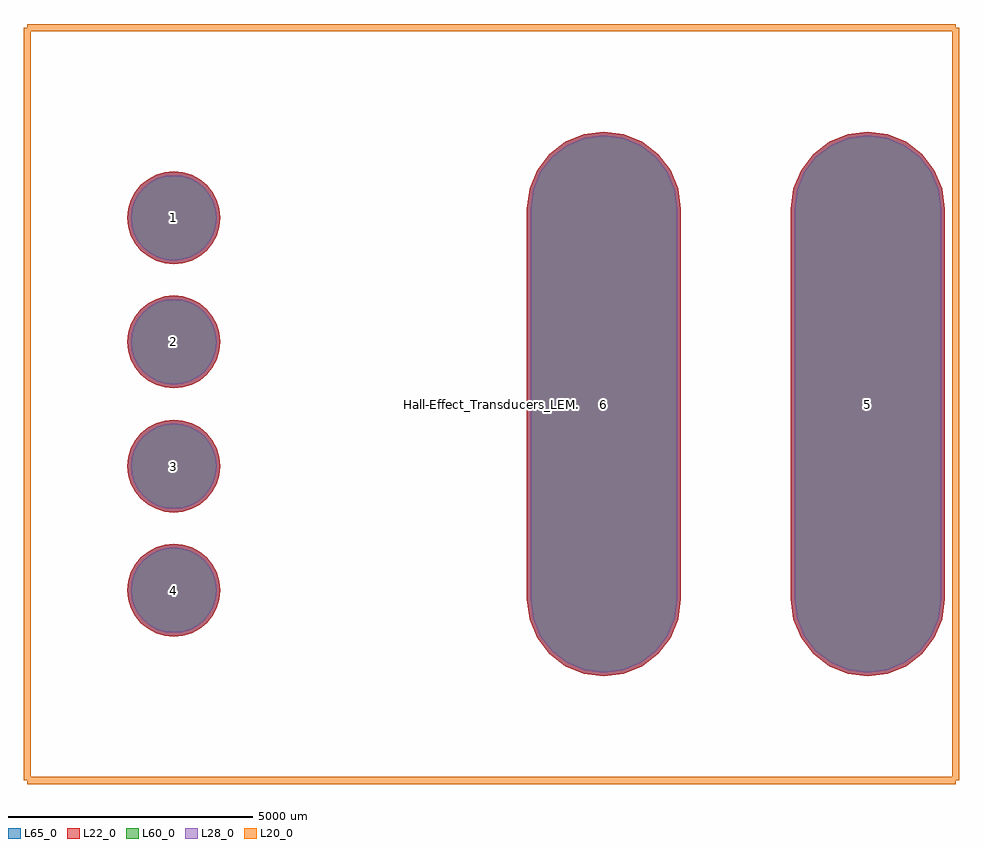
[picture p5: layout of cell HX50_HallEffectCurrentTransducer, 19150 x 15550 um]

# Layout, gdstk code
import gdstk
lib = gdstk.Library(unit=1e-6, precision=1e-09)
def P(c, l, *ps):  # polygons
    for p in ps: c.add(gdstk.Polygon(p, *l))
L20_0 = (20, 0)
L22_0 = (22, 0)
L28_0 = (28, 0)
L60_0 = (60, 0)
L65_0 = (65, 0)

hx50_halleffectcurrenttr = lib.new_cell('HX50_HallEffectCurrentTransducer')
P(hx50_halleffectcurrenttr, L22_0, [(-5550,-3810),(-5568.254,-3624.664),(-5622.314,-3446.451),(-5710.104,-3282.208),(-5828.249,-3138.249),(-5972.208,-3020.104),(-6136.451,-2932.314),(-6314.664,-2878.254),(-6500,-2860),(-6685.336,-2878.254),(-6863.549,-2932.314),(-7027.792,-3020.104),(-7171.751,-3138.249),(-7289.896,-3282.208),(-7377.686,-3446.451),(-7431.746,-3624.664),(-7450,-3810),(-7431.746,-3995.336),(-7377.686,-4173.549),(-7289.896,-4337.792),(-7171.751,-4481.751),(-7027.792,-4599.896),(-6863.549,-4687.686),(-6685.336,-4741.746),(-6500,-4760),(-6314.664,-4741.746),(-6136.451,-4687.686),(-5972.208,-4599.896),(-5828.249,-4481.751),(-5710.104,-4337.792),(-5622.314,-4173.549),(-5568.254,-3995.336)],
  [(-5550,3810),(-5568.254,3995.336),(-5622.314,4173.549),(-5710.104,4337.792),(-5828.249,4481.751),(-5972.208,4599.896),(-6136.451,4687.686),(-6314.664,4741.746),(-6500,4760),(-6685.336,4741.746),(-6863.549,4687.686),(-7027.792,4599.896),(-7171.751,4481.751),(-7289.896,4337.792),(-7377.686,4173.549),(-7431.746,3995.336),(-7450,3810),(-7431.746,3624.664),(-7377.686,3446.451),(-7289.896,3282.208),(-7171.751,3138.249),(-7027.792,3020.104),(-6863.549,2932.314),(-6685.336,2878.254),(-6500,2860),(-6314.664,2878.254),(-6136.451,2932.314),(-5972.208,3020.104),(-5828.249,3138.249),(-5710.104,3282.208),(-5622.314,3446.451),(-5568.254,3624.664)],
  [(-5550,1270),(-5568.254,1455.336),(-5622.314,1633.549),(-5710.104,1797.792),(-5828.249,1941.751),(-5972.208,2059.896),(-6136.451,2147.686),(-6314.664,2201.746),(-6500,2220),(-6685.336,2201.746),(-6863.549,2147.686),(-7027.792,2059.896),(-7171.751,1941.751),(-7289.896,1797.792),(-7377.686,1633.549),(-7431.746,1455.336),(-7450,1270),(-7431.746,1084.664),(-7377.686,906.451),(-7289.896,742.208),(-7171.751,598.249),(-7027.792,480.104),(-6863.549,392.314),(-6685.336,338.254),(-6500,320),(-6314.664,338.254),(-6136.451,392.314),(-5972.208,480.104),(-5828.249,598.249),(-5710.104,742.208),(-5622.314,906.451),(-5568.254,1084.664)],
  [(-5550,-1270),(-5568.254,-1084.664),(-5622.314,-906.451),(-5710.104,-742.208),(-5828.249,-598.249),(-5972.208,-480.104),(-6136.451,-392.314),(-6314.664,-338.254),(-6500,-320),(-6685.336,-338.254),(-6863.549,-392.314),(-7027.792,-480.104),(-7171.751,-598.249),(-7289.896,-742.208),(-7377.686,-906.451),(-7431.746,-1084.664),(-7450,-1270),(-7431.746,-1455.336),(-7377.686,-1633.549),(-7289.896,-1797.792),(-7171.751,-1941.751),(-7027.792,-2059.896),(-6863.549,-2147.686),(-6685.336,-2201.746),(-6500,-2220),(-6314.664,-2201.746),(-6136.451,-2147.686),(-5972.208,-2059.896),(-5828.249,-1941.751),(-5710.104,-1797.792),(-5622.314,-1633.549),(-5568.254,-1455.336)],
  [(2300,-5575),(2707.64,-5521.333),(3087.5,-5363.99),(3413.693,-5113.693),(3663.99,-4787.5),(3821.333,-4407.64),(3875,-4000),(3875,4000),(3821.333,4407.64),(3663.99,4787.5),(3413.693,5113.693),(3087.5,5363.99),(2707.64,5521.333),(2300,5575),(1892.36,5521.333),(1512.5,5363.99),(1186.307,5113.693),(936.01,4787.5),(778.667,4407.64),(725,4000),(725,-4000),(778.667,-4407.64),(936.01,-4787.5),(1186.307,-5113.693),(1512.5,-5363.99),(1892.36,-5521.333)],
  [(7700,-5575),(8107.64,-5521.333),(8487.5,-5363.99),(8813.693,-5113.693),(9063.99,-4787.5),(9221.333,-4407.64),(9275,-4000),(9275,4000),(9221.333,4407.64),(9063.99,4787.5),(8813.693,5113.693),(8487.5,5363.99),(8107.64,5521.333),(7700,5575),(7292.36,5521.333),(6912.5,5363.99),(6586.307,5113.693),(6336.01,4787.5),(6178.667,4407.64),(6125,4000),(6125,-4000),(6178.667,-4407.64),(6336.01,-4787.5),(6586.307,-5113.693),(6912.5,-5363.99),(7292.36,-5521.333)])
P(hx50_halleffectcurrenttr, L28_0, [(-5625,-3810),(-5641.813,-3639.296),(-5691.605,-3475.152),(-5772.464,-3323.876),(-5881.282,-3191.282),(-6013.876,-3082.464),(-6165.152,-3001.605),(-6329.296,-2951.813),(-6500,-2935),(-6670.704,-2951.813),(-6834.848,-3001.605),(-6986.124,-3082.464),(-7118.718,-3191.282),(-7227.536,-3323.876),(-7308.395,-3475.152),(-7358.187,-3639.296),(-7375,-3810),(-7358.187,-3980.704),(-7308.395,-4144.848),(-7227.536,-4296.124),(-7118.718,-4428.718),(-6986.124,-4537.536),(-6834.848,-4618.395),(-6670.704,-4668.187),(-6500,-4685),(-6329.296,-4668.187),(-6165.152,-4618.395),(-6013.876,-4537.536),(-5881.282,-4428.718),(-5772.464,-4296.124),(-5691.605,-4144.848),(-5641.813,-3980.704)],
  [(-5625,3810),(-5641.813,3980.704),(-5691.605,4144.848),(-5772.464,4296.124),(-5881.282,4428.718),(-6013.876,4537.536),(-6165.152,4618.395),(-6329.296,4668.187),(-6500,4685),(-6670.704,4668.187),(-6834.848,4618.395),(-6986.124,4537.536),(-7118.718,4428.718),(-7227.536,4296.124),(-7308.395,4144.848),(-7358.187,3980.704),(-7375,3810),(-7358.187,3639.296),(-7308.395,3475.152),(-7227.536,3323.876),(-7118.718,3191.282),(-6986.124,3082.464),(-6834.848,3001.605),(-6670.704,2951.813),(-6500,2935),(-6329.296,2951.813),(-6165.152,3001.605),(-6013.876,3082.464),(-5881.282,3191.282),(-5772.464,3323.876),(-5691.605,3475.152),(-5641.813,3639.296)],
  [(-5625,1270),(-5641.813,1440.704),(-5691.605,1604.848),(-5772.464,1756.124),(-5881.282,1888.718),(-6013.876,1997.536),(-6165.152,2078.395),(-6329.296,2128.187),(-6500,2145),(-6670.704,2128.187),(-6834.848,2078.395),(-6986.124,1997.536),(-7118.718,1888.718),(-7227.536,1756.124),(-7308.395,1604.848),(-7358.187,1440.704),(-7375,1270),(-7358.187,1099.296),(-7308.395,935.152),(-7227.536,783.876),(-7118.718,651.282),(-6986.124,542.464),(-6834.848,461.605),(-6670.704,411.813),(-6500,395),(-6329.296,411.813),(-6165.152,461.605),(-6013.876,542.464),(-5881.282,651.282),(-5772.464,783.876),(-5691.605,935.152),(-5641.813,1099.296)],
  [(-5625,-1270),(-5641.813,-1099.296),(-5691.605,-935.152),(-5772.464,-783.876),(-5881.282,-651.282),(-6013.876,-542.464),(-6165.152,-461.605),(-6329.296,-411.813),(-6500,-395),(-6670.704,-411.813),(-6834.848,-461.605),(-6986.124,-542.464),(-7118.718,-651.282),(-7227.536,-783.876),(-7308.395,-935.152),(-7358.187,-1099.296),(-7375,-1270),(-7358.187,-1440.704),(-7308.395,-1604.848),(-7227.536,-1756.124),(-7118.718,-1888.718),(-6986.124,-1997.536),(-6834.848,-2078.395),(-6670.704,-2128.187),(-6500,-2145),(-6329.296,-2128.187),(-6165.152,-2078.395),(-6013.876,-1997.536),(-5881.282,-1888.718),(-5772.464,-1756.124),(-5691.605,-1604.848),(-5641.813,-1440.704)],
  [(2300,-5500),(2688.229,-5448.889),(3050,-5299.038),(3360.66,-5060.66),(3599.038,-4750),(3748.889,-4388.229),(3800,-4000),(3800,4000),(3748.889,4388.229),(3599.038,4750),(3360.66,5060.66),(3050,5299.038),(2688.229,5448.889),(2300,5500),(1911.771,5448.889),(1550,5299.038),(1239.34,5060.66),(1000.962,4750),(851.111,4388.229),(800,4000),(800,-4000),(851.111,-4388.229),(1000.962,-4750),(1239.34,-5060.66),(1550,-5299.038),(1911.771,-5448.889)],
  [(7700,-5500),(8088.229,-5448.889),(8450,-5299.038),(8760.66,-5060.66),(8999.038,-4750),(9148.889,-4388.229),(9200,-4000),(9200,4000),(9148.889,4388.229),(8999.038,4750),(8760.66,5060.66),(8450,5299.038),(8088.229,5448.889),(7700,5500),(7311.771,5448.889),(6950,5299.038),(6639.34,5060.66),(6400.962,4750),(6251.111,4388.229),(6200,4000),(6200,-4000),(6251.111,-4388.229),(6400.962,-4750),(6639.34,-5060.66),(6950,-5299.038),(7311.771,-5448.889)])
P(hx50_halleffectcurrenttr, L60_0, [(-5625,-3810),(-5641.813,-3639.296),(-5691.605,-3475.152),(-5772.464,-3323.876),(-5881.282,-3191.282),(-6013.876,-3082.464),(-6165.152,-3001.605),(-6329.296,-2951.813),(-6500,-2935),(-6670.704,-2951.813),(-6834.848,-3001.605),(-6986.124,-3082.464),(-7118.718,-3191.282),(-7227.536,-3323.876),(-7308.395,-3475.152),(-7358.187,-3639.296),(-7375,-3810),(-7358.187,-3980.704),(-7308.395,-4144.848),(-7227.536,-4296.124),(-7118.718,-4428.718),(-6986.124,-4537.536),(-6834.848,-4618.395),(-6670.704,-4668.187),(-6500,-4685),(-6329.296,-4668.187),(-6165.152,-4618.395),(-6013.876,-4537.536),(-5881.282,-4428.718),(-5772.464,-4296.124),(-5691.605,-4144.848),(-5641.813,-3980.704)],
  [(-5625,3810),(-5641.813,3980.704),(-5691.605,4144.848),(-5772.464,4296.124),(-5881.282,4428.718),(-6013.876,4537.536),(-6165.152,4618.395),(-6329.296,4668.187),(-6500,4685),(-6670.704,4668.187),(-6834.848,4618.395),(-6986.124,4537.536),(-7118.718,4428.718),(-7227.536,4296.124),(-7308.395,4144.848),(-7358.187,3980.704),(-7375,3810),(-7358.187,3639.296),(-7308.395,3475.152),(-7227.536,3323.876),(-7118.718,3191.282),(-6986.124,3082.464),(-6834.848,3001.605),(-6670.704,2951.813),(-6500,2935),(-6329.296,2951.813),(-6165.152,3001.605),(-6013.876,3082.464),(-5881.282,3191.282),(-5772.464,3323.876),(-5691.605,3475.152),(-5641.813,3639.296)],
  [(-5625,1270),(-5641.813,1440.704),(-5691.605,1604.848),(-5772.464,1756.124),(-5881.282,1888.718),(-6013.876,1997.536),(-6165.152,2078.395),(-6329.296,2128.187),(-6500,2145),(-6670.704,2128.187),(-6834.848,2078.395),(-6986.124,1997.536),(-7118.718,1888.718),(-7227.536,1756.124),(-7308.395,1604.848),(-7358.187,1440.704),(-7375,1270),(-7358.187,1099.296),(-7308.395,935.152),(-7227.536,783.876),(-7118.718,651.282),(-6986.124,542.464),(-6834.848,461.605),(-6670.704,411.813),(-6500,395),(-6329.296,411.813),(-6165.152,461.605),(-6013.876,542.464),(-5881.282,651.282),(-5772.464,783.876),(-5691.605,935.152),(-5641.813,1099.296)],
  [(-5625,-1270),(-5641.813,-1099.296),(-5691.605,-935.152),(-5772.464,-783.876),(-5881.282,-651.282),(-6013.876,-542.464),(-6165.152,-461.605),(-6329.296,-411.813),(-6500,-395),(-6670.704,-411.813),(-6834.848,-461.605),(-6986.124,-542.464),(-7118.718,-651.282),(-7227.536,-783.876),(-7308.395,-935.152),(-7358.187,-1099.296),(-7375,-1270),(-7358.187,-1440.704),(-7308.395,-1604.848),(-7227.536,-1756.124),(-7118.718,-1888.718),(-6986.124,-1997.536),(-6834.848,-2078.395),(-6670.704,-2128.187),(-6500,-2145),(-6329.296,-2128.187),(-6165.152,-2078.395),(-6013.876,-1997.536),(-5881.282,-1888.718),(-5772.464,-1756.124),(-5691.605,-1604.848),(-5641.813,-1440.704)],
  [(2300,-5500),(2688.229,-5448.889),(3050,-5299.038),(3360.66,-5060.66),(3599.038,-4750),(3748.889,-4388.229),(3800,-4000),(3800,4000),(3748.889,4388.229),(3599.038,4750),(3360.66,5060.66),(3050,5299.038),(2688.229,5448.889),(2300,5500),(1911.771,5448.889),(1550,5299.038),(1239.34,5060.66),(1000.962,4750),(851.111,4388.229),(800,4000),(800,-4000),(851.111,-4388.229),(1000.962,-4750),(1239.34,-5060.66),(1550,-5299.038),(1911.771,-5448.889)],
  [(7700,-5500),(8088.229,-5448.889),(8450,-5299.038),(8760.66,-5060.66),(8999.038,-4750),(9148.889,-4388.229),(9200,-4000),(9200,4000),(9148.889,4388.229),(8999.038,4750),(8760.66,5060.66),(8450,5299.038),(8088.229,5448.889),(7700,5500),(7311.771,5448.889),(6950,5299.038),(6639.34,5060.66),(6400.962,4750),(6251.111,4388.229),(6200,4000),(6200,-4000),(6251.111,-4388.229),(6400.962,-4750),(6639.34,-5060.66),(6950,-5299.038),(7311.771,-5448.889)])
P(hx50_halleffectcurrenttr, L65_0, [(-5550,-3810),(-5568.254,-3624.664),(-5622.314,-3446.451),(-5710.104,-3282.208),(-5828.249,-3138.249),(-5972.208,-3020.104),(-6136.451,-2932.314),(-6314.664,-2878.254),(-6500,-2860),(-6685.336,-2878.254),(-6863.549,-2932.314),(-7027.792,-3020.104),(-7171.751,-3138.249),(-7289.896,-3282.208),(-7377.686,-3446.451),(-7431.746,-3624.664),(-7450,-3810),(-7431.746,-3995.336),(-7377.686,-4173.549),(-7289.896,-4337.792),(-7171.751,-4481.751),(-7027.792,-4599.896),(-6863.549,-4687.686),(-6685.336,-4741.746),(-6500,-4760),(-6314.664,-4741.746),(-6136.451,-4687.686),(-5972.208,-4599.896),(-5828.249,-4481.751),(-5710.104,-4337.792),(-5622.314,-4173.549),(-5568.254,-3995.336)],
  [(-5550,3810),(-5568.254,3995.336),(-5622.314,4173.549),(-5710.104,4337.792),(-5828.249,4481.751),(-5972.208,4599.896),(-6136.451,4687.686),(-6314.664,4741.746),(-6500,4760),(-6685.336,4741.746),(-6863.549,4687.686),(-7027.792,4599.896),(-7171.751,4481.751),(-7289.896,4337.792),(-7377.686,4173.549),(-7431.746,3995.336),(-7450,3810),(-7431.746,3624.664),(-7377.686,3446.451),(-7289.896,3282.208),(-7171.751,3138.249),(-7027.792,3020.104),(-6863.549,2932.314),(-6685.336,2878.254),(-6500,2860),(-6314.664,2878.254),(-6136.451,2932.314),(-5972.208,3020.104),(-5828.249,3138.249),(-5710.104,3282.208),(-5622.314,3446.451),(-5568.254,3624.664)],
  [(-5550,1270),(-5568.254,1455.336),(-5622.314,1633.549),(-5710.104,1797.792),(-5828.249,1941.751),(-5972.208,2059.896),(-6136.451,2147.686),(-6314.664,2201.746),(-6500,2220),(-6685.336,2201.746),(-6863.549,2147.686),(-7027.792,2059.896),(-7171.751,1941.751),(-7289.896,1797.792),(-7377.686,1633.549),(-7431.746,1455.336),(-7450,1270),(-7431.746,1084.664),(-7377.686,906.451),(-7289.896,742.208),(-7171.751,598.249),(-7027.792,480.104),(-6863.549,392.314),(-6685.336,338.254),(-6500,320),(-6314.664,338.254),(-6136.451,392.314),(-5972.208,480.104),(-5828.249,598.249),(-5710.104,742.208),(-5622.314,906.451),(-5568.254,1084.664)],
  [(-5550,-1270),(-5568.254,-1084.664),(-5622.314,-906.451),(-5710.104,-742.208),(-5828.249,-598.249),(-5972.208,-480.104),(-6136.451,-392.314),(-6314.664,-338.254),(-6500,-320),(-6685.336,-338.254),(-6863.549,-392.314),(-7027.792,-480.104),(-7171.751,-598.249),(-7289.896,-742.208),(-7377.686,-906.451),(-7431.746,-1084.664),(-7450,-1270),(-7431.746,-1455.336),(-7377.686,-1633.549),(-7289.896,-1797.792),(-7171.751,-1941.751),(-7027.792,-2059.896),(-6863.549,-2147.686),(-6685.336,-2201.746),(-6500,-2220),(-6314.664,-2201.746),(-6136.451,-2147.686),(-5972.208,-2059.896),(-5828.249,-1941.751),(-5710.104,-1797.792),(-5622.314,-1633.549),(-5568.254,-1455.336)],
  [(2300,-5575),(2707.64,-5521.333),(3087.5,-5363.99),(3413.693,-5113.693),(3663.99,-4787.5),(3821.333,-4407.64),(3875,-4000),(3875,4000),(3821.333,4407.64),(3663.99,4787.5),(3413.693,5113.693),(3087.5,5363.99),(2707.64,5521.333),(2300,5575),(1892.36,5521.333),(1512.5,5363.99),(1186.307,5113.693),(936.01,4787.5),(778.667,4407.64),(725,4000),(725,-4000),(778.667,-4407.64),(936.01,-4787.5),(1186.307,-5113.693),(1512.5,-5363.99),(1892.36,-5521.333)],
  [(7700,-5575),(8107.64,-5521.333),(8487.5,-5363.99),(8813.693,-5113.693),(9063.99,-4787.5),(9221.333,-4407.64),(9275,-4000),(9275,4000),(9221.333,4407.64),(9063.99,4787.5),(8813.693,5113.693),(8487.5,5363.99),(8107.64,5521.333),(7700,5575),(7292.36,5521.333),(6912.5,5363.99),(6586.307,5113.693),(6336.01,4787.5),(6178.667,4407.64),(6125,4000),(6125,-4000),(6178.667,-4407.64),(6336.01,-4787.5),(6586.307,-5113.693),(6912.5,-5363.99),(7292.36,-5521.333)])
hx50_halleffectcurrenttr.add(gdstk.FlexPath([(-9500,7700),(-9500,-7700)], 149.998, ends="flush", simple_path=True, layer=20, datatype=0))  # L20_0
hx50_halleffectcurrenttr.add(gdstk.FlexPath([(9500,7700),(-9500,7700)], 149.998, ends="flush", simple_path=True, layer=20, datatype=0))  # L20_0
hx50_halleffectcurrenttr.add(gdstk.FlexPath([(9500,-7700),(9500,7700)], 149.998, ends="flush", simple_path=True, layer=20, datatype=0))  # L20_0
hx50_halleffectcurrenttr.add(gdstk.FlexPath([(-9500,-7700),(9500,-7700)], 149.998, ends="flush", simple_path=True, layer=20, datatype=0))  # L20_0
hx50_halleffectcurrenttr.add(gdstk.Label('Hall-Effect_Transducers_LEM.3dshapes/HX50_HallEffectCurrentTransducer.wrl', (0,0), layer=12, texttype=0))
hx50_halleffectcurrenttr.add(gdstk.Label('4', (-6500,-3810), layer=28, texttype=0))
hx50_halleffectcurrenttr.add(gdstk.Label('1', (-6500,3810), layer=28, texttype=0))
hx50_halleffectcurrenttr.add(gdstk.Label('2', (-6500,1270), layer=28, texttype=0))
hx50_halleffectcurrenttr.add(gdstk.Label('3', (-6500,-1270), layer=28, texttype=0))
hx50_halleffectcurrenttr.add(gdstk.Label('6', (2300,0), layer=28, texttype=0))
hx50_halleffectcurrenttr.add(gdstk.Label('5', (7700,0), layer=28, texttype=0))
hx50_halleffectcurrenttr.add(gdstk.Label('type', (100,-10200), layer=9, texttype=0))
hx50_halleffectcurrenttr.add(gdstk.Label('devicename', (100,10800), layer=9, texttype=0))

lib.write_gds('HX50_HallEffectCurrentTransducer.gds')
